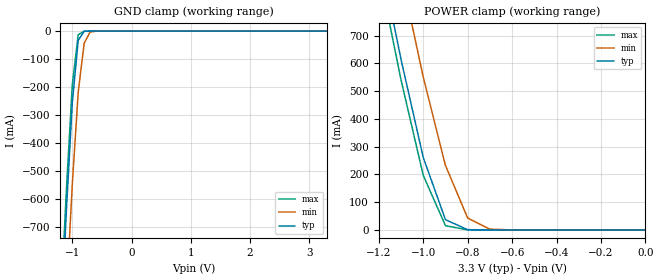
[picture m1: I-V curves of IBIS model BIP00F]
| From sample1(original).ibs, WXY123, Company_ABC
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|   Model BIP00F
[Model]   BIP00F
Model_type   Input
Polarity   Non-Inverting
Vinl = 0.8V
Vinh = 2.0V
C_comp   0.737pF   NA   NA
[Temperature Range]   25   125   0
[Voltage Range]   3.3V   3.0V   3.6V
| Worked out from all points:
|   GND clamp passes 1 mA (typ) near -0.80 V on its own axis
|   POWER clamp passes 1 mA (typ) near -0.80 V on its own axis
[GND_clamp]
| voltage   I(typ)   I(min)   I(max)
-3.3V     -11.46A    -11.71A    -11.41A
-1.2V     -1.083A    -1.395A    -1.009A
-1.1V     -643mA     -954.2mA   -569.2mA
-1V       -256.7mA   -547.1mA   -192mA
-900mV    -32.66mA   -218.2mA   -13.11mA
-800mV    -907.2uA   -43.61mA   -212.4uA
-700mV    -18.68uA   -3.442mA   -3.041uA
-600mV    -381nA     -192.7uA   -43.45nA
3.3V      6.608pA    26.57nA    6.324pA
[POWER_clamp]
| voltage   I(typ)   I(min)   I(max)
-3.3V     10.23A     10.49A     10.17A
-1.2V     1.008A     1.319A     934.7mA
-1.1V     614.5mA    922.9mA    540.7mA
-1V       261.3mA    551mA      196.8mA
-900mV    37.01mA    232.6mA    15.46mA
-800mV    1.031mA    42.8mA     255uA
-700mV    21.22uA    3.014mA    3.652uA
-600mV    432.9nA    166.5uA    52.18nA
0V        6.594pA    10.91pA    7.233pA
